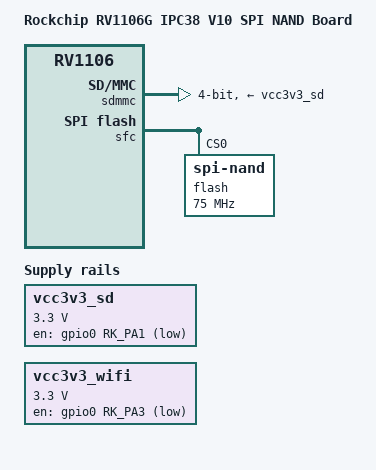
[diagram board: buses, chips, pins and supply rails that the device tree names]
// SPDX-License-Identifier: (GPL-2.0+ OR MIT)
/*
 * Copyright (c) 2022 Rockchip Electronics Co., Ltd.
 */

/dts-v1/;

#include "rv1106.dtsi"
#include "rv1106-evb.dtsi"
#include "rv1106-ipc.dtsi"

/ {
	model = "Rockchip RV1106G IPC38 V10 SPI NAND Board";
	compatible = "rockchip,rv1106g-38x38-ipc-v10-spi-nand", "rockchip,rv1106";

	vcc3v3_sd: vcc3v3-sd {
		compatible = "regulator-fixed";
		gpio = <&gpio0 RK_PA1 GPIO_ACTIVE_LOW>;
		regulator-name = "vcc3v3_sd";
		regulator-min-microvolt = <3300000>;
		regulator-max-microvolt = <3300000>;
		pinctrl-names = "default";
		pinctrl-0 = <&sdmmc_pwren>;
	};

	vcc3v3_wifi: vcc3v3-wifi {
		compatible = "regulator-fixed";
		regulator-name = "vcc3v3_wifi";
		regulator-boot-on;
		regulator-always-on;
		regulator-min-microvolt = <3300000>;
		regulator-max-microvolt = <3300000>;
		enable-active-low;
		gpio = <&gpio0 RK_PA3 GPIO_ACTIVE_LOW>;
		pinctrl-names = "default";
		pinctrl-0 = <&wifi_pwren>;
	};
};

&pinctrl {
	sdmmc {
		/omit-if-no-ref/
		sdmmc_pwren: sdmmc-pwren {
			rockchip,pins = <0 RK_PA1 RK_FUNC_GPIO &pcfg_pull_none>;
		};
	};

	wcc3v3_wifi {
		/omit-if-no-ref/
		wifi_pwren: wifi-pwren {
			rockchip,pins = <0 RK_PA3 RK_FUNC_GPIO &pcfg_pull_down>;
		};
	};
};

&sdmmc {
	max-frequency = <50000000>;
	no-sdio;
	no-mmc;
	bus-width = <4>;
	cap-mmc-highspeed;
	cap-sd-highspeed;
	disable-wp;
	pinctrl-names = "default";
	pinctrl-0 = <&sdmmc0_clk &sdmmc0_cmd &sdmmc0_det &sdmmc0_bus4>;
	vmmc-supply = <&vcc3v3_sd>;
	status = "okay";
};

&sfc {
	status = "okay";

	flash@0 {
		compatible = "spi-nand";
		reg = <0>;
		spi-max-frequency = <75000000>;
		spi-rx-bus-width = <4>;
		spi-tx-bus-width = <1>;
	};
};
